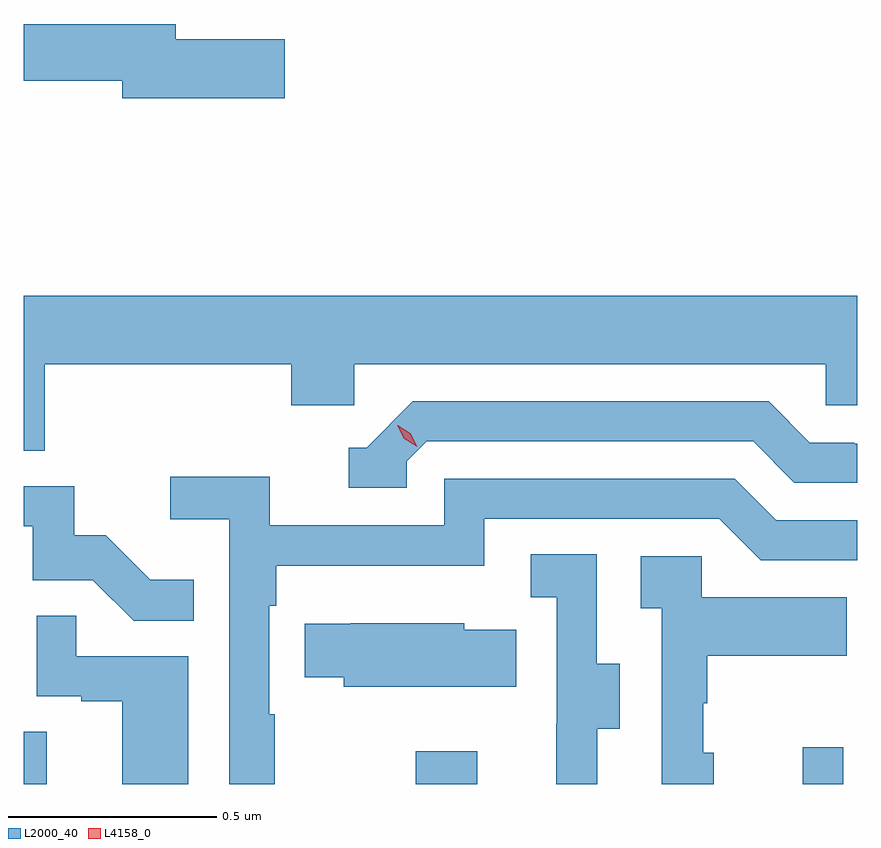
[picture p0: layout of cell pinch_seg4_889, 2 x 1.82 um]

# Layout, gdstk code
import gdstk
lib = gdstk.Library(unit=1e-6, precision=1e-09)
def R(c, l, rs):  # rectangles x0, y0, x1, y1
    for r in rs: c.add(gdstk.rectangle(r[:2], r[2:], *l))
def P(c, l, *ps):  # polygons
    for p in ps: c.add(gdstk.Polygon(p, *l))
L2000_40 = (2000, 40)
L4158_0 = (4158, 0)

pinch_seg4_889 = lib.new_cell('pinch_seg4_889')
R(pinch_seg4_889, L2000_40, [(831.329,793.149,831.385,793.274), (832.27,793.149,832.417,793.228), (833.198,793.149,833.295,793.237)])
P(pinch_seg4_889, L2000_40, [(831.955,794.936),(831.694,794.936),(831.694,794.972),(831.329,794.972),(831.329,794.836),(831.566,794.836),(831.566,794.794),(831.955,794.794)],
  [(831.38,794.156),(831.971,794.156),(831.971,794.058),(832.122,794.058),(832.122,794.156),(833.253,794.156),(833.253,794.058),(833.329,794.058),(833.329,794.32),(831.329,794.32),(831.329,793.948),(831.38,793.948)],
  [(832.248,793.923),(832.296,793.971),(833.079,793.971),(833.178,793.872),(833.329,793.872),(833.329,793.965),(833.322,793.965),(833.322,793.968),(833.215,793.968),(833.116,794.067),(832.263,794.067),(832.152,793.956),(832.109,793.956),(832.109,793.86),(832.248,793.86)],
  [(831.931,793.316),(831.918,793.316),(831.918,793.577),(831.935,793.577),(831.935,793.673),(832.434,793.673),(832.434,793.785),(832.998,793.785),(833.097,793.686),(833.329,793.686),(833.329,793.782),(833.134,793.782),(833.035,793.881),(832.338,793.881),(832.338,793.77),(831.92,793.77),(831.92,793.886),(831.681,793.886),(831.681,793.784),(831.822,793.784),(831.822,793.149),(831.931,793.149)],
  [(831.737,793.639),(831.633,793.639),(831.526,793.746),(831.45,793.746),(831.45,793.863),(831.329,793.863),(831.329,793.767),(831.351,793.767),(831.351,793.638),(831.495,793.638),(831.593,793.54),(831.737,793.54)],
  [(832.705,793.282),(832.759,793.282),(832.759,793.437),(832.704,793.437),(832.704,793.7),(832.545,793.7),(832.545,793.597),(832.608,793.597),(832.608,793.293),(832.607,793.293),(832.607,793.149),(832.705,793.149)],
  [(832.984,793.224),(832.959,793.224),(832.959,793.343),(832.969,793.343),(832.969,793.457),(833.303,793.457),(833.303,793.597),(832.956,793.597),(832.956,793.695),(832.809,793.695),(832.809,793.571),(832.86,793.571),(832.86,793.149),(832.984,793.149)],
  [(831.724,793.455),(831.455,793.455),(831.455,793.553),(831.36,793.553),(831.36,793.359),(831.467,793.359),(831.467,793.347),(831.566,793.347),(831.566,793.149),(831.724,793.149)],
  [(832.511,793.519),(832.386,793.519),(832.386,793.534),(832.114,793.534),(832.114,793.533),(832.003,793.533),(832.003,793.405),(832.097,793.405),(832.097,793.382),(832.511,793.382)])
P(pinch_seg4_889, L4158_0, [(832.273,793.958),(832.242,793.977),(832.225,794.009),(832.225,794.01),(832.226,794.01),(832.257,793.99),(832.273,793.958),(832.273,793.958)])

lib.write_gds('pinch_seg4_889.gds')
